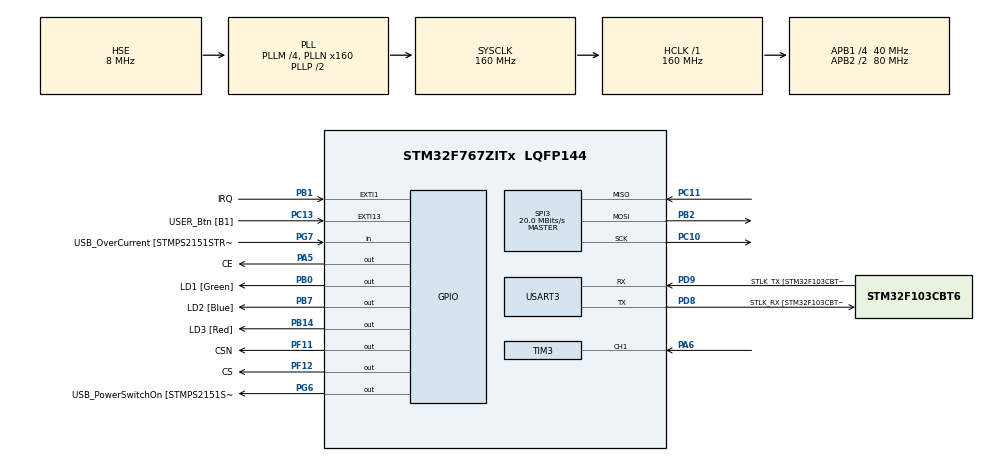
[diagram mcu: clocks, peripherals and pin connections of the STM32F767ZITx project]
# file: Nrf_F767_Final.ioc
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Mcu.Family=STM32F7
RCC.CortexFreq_Value=160000000
SPI3.Direction=SPI_DIRECTION_2LINES
SPI3.VirtualType=VM_MASTER
PG6.Signal=GPIO_Output
PC10.Signal=SPI3_SCK
PB14.GPIO_Label=LD3 [Red]
PG6.GPIO_Label=USB_PowerSwitchOn [STMPS2151STR_EN]
PA14.GPIO_Label=TCK
RCC.SYSCLKSourceVirtual=RCC_SYSCLKSOURCE_PLLCLK
PB0.GPIO_Label=LD1 [Green]
PC14/OSC32_IN.Mode=LSE-External-Oscillator
PC13.GPIO_Label=USER_Btn [B1]
PB13.GPIO_Label=RMII_TXD1 [LAN8742A-CZ-TR_TXD1]
PB13.Signal=ETH_TXD1
PG13.Signal=ETH_TXD0
PD9.Mode=Asynchronous
PG11.Signal=ETH_TX_EN
RCC.SYSCLKSource=RCC_SYSCLKSOURCE_PLLCLK
ProjectManager.StackSize=0x400
USART3.VirtualMode-Asynchronous=VM_ASYNC
NVIC.EXTI1_IRQn=true\:0\:0\:false\:false\:true\:true\:true
PA12.Signal=USB_OTG_FS_DP
PH0/OSC_IN.Mode=HSE-External-Clock-Source
RCC.HCLKFreq_Value=160000000
RCC.APB2TimFreq_Value=160000000
TIM3.Period=0xffff-1
PF11.GPIO_Label=CSN
PH1/OSC_OUT.Signal=RCC_OSC_OUT
PF12.Signal=GPIO_Output
PD8.Signal=USART3_TX
RCC.AHBFreq_Value=160000000
SPI3.DataSize=SPI_DATASIZE_8BIT
NVIC.EXTI15_10_IRQn=true\:0\:0\:false\:false\:true\:true\:true
RCC.HSE_VALUE=8000000
TIM3.Channel-Input_Capture1_from_TI1=TIM_CHANNEL_1
PB2.Signal=SPI3_MOSI
RCC.PLLMUL=RCC_PLL_MUL9
PF12.GPIO_Label=CS
PC4.GPIO_Label=RMII_RXD0 [LAN8742A-CZ-TR_RXD0]
TIM3.Prescaler=80-1
PB1.GPIO_Label=IRQ
PF11.Signal=GPIO_Output
NVIC.TIM2_IRQn=true\:0\:0\:false\:false\:true\:true\:true
PA10.GPIO_Label=USB_ID
PB7.Signal=GPIO_Output
PA8.Signal=USB_OTG_FS_SOF
SH.S_TIM3_CH1.0=TIM3_CH1,Input_Capture1_from_TI1
PH1/OSC_OUT.Mode=HSE-External-Clock-Source
PB7.GPIO_Label=LD2 [Blue]
Mcu.Package=LQFP144
PB1.Signal=GPXTI1
PA6.Signal=S_TIM3_CH1
SPI3.Mode=SPI_MODE_MASTER
PC14/OSC32_IN.Signal=RCC_OSC32_IN
PA2.GPIO_Label=RMII_MDIO [LAN8742A-CZ-TR_MDIO]
PA10.Signal=USB_OTG_FS_ID
PC11.Mode=Full_Duplex_Master
RCC.APB2CLKDivider=RCC_HCLK_DIV2
RCC.APB1TimFreq_Value=80000000
PG11.GPIO_Label=RMII_TX_EN [LAN8742A-CZ-TR_TXEN]
PC5.Signal=ETH_RXD1
VP_TIM3_VS_ClockSourceINT.Mode=Internal
PB3.GPIO_Label=SW0
RCC.PLLSourceVirtual=RCC_PLLSOURCE_HSE
CORTEX_M7.CPU_ICache=Enabled
PG7.Signal=GPIO_Input
PD9.GPIO_Label=STLK_TX [STM32F103CBT6_PA2]
PA9.GPIO_Label=USB_VBUS
PC13.Signal=GPXTI13
PC11.Signal=SPI3_MISO
PC4.Signal=ETH_RXD0
PC10.Mode=Full_Duplex_Master
PA11.GPIO_Label=USB_DM
PD9.Signal=USART3_RX
RCC.APB1CLKDivider=RCC_HCLK_DIV4
PG13.GPIO_Label=RMII_TXD0 [LAN8742A-CZ-TR_TXD0]
PA12.GPIO_Label=USB_DP
PD8.GPIO_Label=STLK_RX [STM32F103CBT6_PA3]
PA13.Signal=SYS_JTMS-SWDIO
PA8.GPIO_Label=USB_SOF [TP1]
ProjectManager.TargetToolchain=TrueSTUDIO
PA9.Signal=USB_OTG_FS_VBUS
RCC.USBFreq_Value=160000000
PD8.Mode=Asynchronous
PA1.Signal=ETH_REF_CLK
PB14.Signal=GPIO_Output
PA5.Signal=GPIO_Output
board=NUCLEO-F767ZI
RCC.VCOOutputFreq_Value=320000000
NVIC.TIM3_IRQn=true\:0\:0\:false\:false\:true\:true\:true
PH0/OSC_IN.Signal=RCC_OSC_IN
RCC.APB2Freq_Value=80000000
SPI3.CalculateBaudRate=20.0 MBits/s
RCC.PRESCALERUSB=RCC_USBCLKSOURCE_PLL_DIV1_5
VP_TIM2_VS_ClockSourceINT.Mode=Internal
PG7.GPIO_Label=USB_OverCurrent [STMPS2151STR_FAULT]
PA1.GPIO_Label=RMII_REF_CLK [LAN8742A-CZ-TR_REFCLK0]
PC1.GPIO_Label=RMII_MDC [LAN8742A-CZ-TR_MDC]
TIM3.ICPolarity_CH1=TIM_INPUTCHANNELPOLARITY_FALLING
Mcu.Name=STM32F767ZITx
PA2.Signal=ETH_MDIO
PA13.GPIO_Label=TMS
RCC.48MHZClocksFreq_Value=24000000
PB3.Signal=SYS_JTDO-SWO
RCC.SYSCLKFreq_VALUE=160000000
PA7.GPIO_Label=RMII_CRS_DV [LAN8742A-CZ-TR_CRS_DV]
PA5.GPIO_Label=CE
PC5.GPIO_Label=RMII_RXD1 [LAN8742A-CZ-TR_RXD1]
PB2.Mode=Full_Duplex_Master
PC15/OSC32_OUT.Mode=LSE-External-Oscillator
PA11.Signal=USB_OTG_FS_DM
PA14.Signal=SYS_JTCK-SWCLK
ProjectManager.HeapSize=0x200
RCC.HSI_VALUE=16000000
PH0/OSC_IN.GPIO_Label=MCO [STM32F103CBT6_PA8]
NVIC.PriorityGroup=NVIC_PRIORITYGROUP_4
RCC.PLLM=4
RCC.PLLN=160
PC15/OSC32_OUT.Signal=RCC_OSC32_OUT
CORTEX_M7.CPU_DCache=Enabled
RCC.APB1Freq_Value=40000000
PB0.Signal=GPIO_Output
PC1.Signal=ETH_MDC
PA7.Signal=ETH_CRS_DV

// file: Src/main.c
/* USER CODE BEGIN Header */
/**
  ******************************************************************************
  * @file           : main.c
  * @brief          : Main program body
  ******************************************************************************
  * @attention
  *
  * <h2><center>&copy; Copyright (c) 2020 STMicroelectronics.
  * All rights reserved.</center></h2>
  *
  * This software component is licensed by ST under BSD 3-Clause license,
  * the "License"; You may not use this file except in compliance with the
  * License. You may obtain a copy of the License at:
  *                        opensource.org/licenses/BSD-3-Clause
  *
  ******************************************************************************
  */
/* USER CODE END Header */

#include "main.h"

/* USER CODE BEGIN Includes */
#include "nrf24l01.h"
#include "string.h"
#include "stdio.h"
#include "stdint.h"
/* USER CODE END Includes */

/* USER CODE BEGIN PTD */
static void error() {
    while (true) {
        HAL_GPIO_TogglePin(LD2_GPIO_Port, LD2_Pin);
        HAL_Delay(100);
    }
}
/* USER CODE END PTD */

SPI_HandleTypeDef hspi3;

TIM_HandleTypeDef htim2;
TIM_HandleTypeDef htim3;

UART_HandleTypeDef huart3;

/* USER CODE BEGIN PV */
nrf24l01 nrf;
uint32_t rx_data;
nrf24l01_config config;
uint8_t buffer[1000];
static const uint8_t tx_address[5] = {1, 2, 3, 4, 5};
static const uint8_t rx_address[5] = {1, 2, 3, 4, 6};
void send_RF_messages (uint8_t *ffer);

uint32_t IC_Val1 = 0;
uint32_t IC_Val2 = 0;
uint32_t Difference = 0;
uint8_t Is_First_Captured = 0;  // is the first value captured ?
/* USER CODE END PV */

void SystemClock_Config(void);
static void MX_GPIO_Init(void);
static void MX_SPI3_Init(void);
static void MX_TIM2_Init(void);
static void MX_TIM3_Init(void);
static void MX_USART3_UART_Init(void);

int main(void)
{

  /* Enable I-Cache---------------------------------------------------------*/
  SCB_EnableICache();

  /* Enable D-Cache---------------------------------------------------------*/
  SCB_EnableDCache();

  /* MCU Configuration--------------------------------------------------------*/

  /* Reset of all peripherals, Initializes the Flash interface and the Systick. */
  HAL_Init();

  /* Configure the system clock */
  SystemClock_Config();

  /* Initialize all configured peripherals */
  MX_GPIO_Init();
  MX_SPI3_Init();
  MX_TIM2_Init();
  MX_TIM3_Init();
  MX_USART3_UART_Init();
  /* USER CODE BEGIN 2 */
  sprintf(buffer,"Hello Mohamed  \n\r");
  HAL_UART_Transmit(&huart3,buffer,strlen(buffer),1000);

  {
	   nrf24l01_config config;
	      config.data_rate        = NRF_DATA_RATE_1MBPS;
	      config.tx_power         = NRF_TX_PWR_0dBm;
	      config.crc_width        = NRF_CRC_WIDTH_1B;
	      config.addr_width       = NRF_ADDR_WIDTH_5;
	      config.payload_length   = 4;    // maximum is 32 bytes
	      config.retransmit_count = 15;   // maximum is 15 times
	      config.retransmit_delay = 0x0F; // 4000us, LSB:250us
	      config.rf_channel       = 11;
	      config.rx_address       = rx_address;
	      config.tx_address       = tx_address;
	      config.rx_buffer        = (uint8_t*)&rx_data;

	      config.spi         = &hspi3;
	      config.spi_timeout = 10; // milliseconds
	      config.ce_port     = CE_GPIO_Port;
	      config.ce_pin      = CE_Pin;
	      config.csn_pin     = CS_Pin;
	      config.csn_port    = CS_GPIO_Port;
	      config.irq_port    = IRQ_GPIO_Port;
	      config.irq_pin     = IRQ_Pin;

	      nrf_init(&nrf, &config);
      nrf_init(&nrf, &config);
  }

 uint8_t ffer[1000];

 uint16_t counter=0;
  /* USER CODE END 2 */

  /* Infinite loop */
  /* USER CODE BEGIN WHILE */
  while (1)
  {
      HAL_GPIO_TogglePin(LD1_GPIO_Port, LD1_Pin);
      HAL_Delay(500);
      sprintf(ffer,"ld1f");
  //    send_RF_messages(ffer);
   //   memset(ffer, 0, sizeof(ffer));
      HAL_GPIO_TogglePin(LD1_GPIO_Port, LD1_Pin);
      HAL_Delay(500);
      memset(ffer, 0, sizeof(ffer));
    //  sprintf(ffer,"ld1n");
   //   send_RF_messages(ffer);
      memset(ffer, 0, sizeof(ffer));

    /* USER CODE END WHILE */

  }
}

void SystemClock_Config(void)
{
  RCC_OscInitTypeDef RCC_OscInitStruct = {0};
  RCC_ClkInitTypeDef RCC_ClkInitStruct = {0};
  RCC_PeriphCLKInitTypeDef PeriphClkInitStruct = {0};

  /** Configure LSE Drive Capability
  */
  HAL_PWR_EnableBkUpAccess();
  /** Configure the main internal regulator output voltage
  */
  __HAL_RCC_PWR_CLK_ENABLE();
  __HAL_PWR_VOLTAGESCALING_CONFIG(PWR_REGULATOR_VOLTAGE_SCALE2);
  /** Initializes the CPU, AHB and APB busses clocks
  */
  RCC_OscInitStruct.OscillatorType = RCC_OSCILLATORTYPE_HSE;
  RCC_OscInitStruct.HSEState = RCC_HSE_BYPASS;
  RCC_OscInitStruct.PLL.PLLState = RCC_PLL_ON;
  RCC_OscInitStruct.PLL.PLLSource = RCC_PLLSOURCE_HSE;
  RCC_OscInitStruct.PLL.PLLM = 4;
  RCC_OscInitStruct.PLL.PLLN = 160;
  RCC_OscInitStruct.PLL.PLLP = RCC_PLLP_DIV2;
  RCC_OscInitStruct.PLL.PLLQ = 2;
  if (HAL_RCC_OscConfig(&RCC_OscInitStruct) != HAL_OK)
  {
    Error_Handler();
  }
  /** Initializes the CPU, AHB and APB busses clocks
  */
  RCC_ClkInitStruct.ClockType = RCC_CLOCKTYPE_HCLK|RCC_CLOCKTYPE_SYSCLK
                              |RCC_CLOCKTYPE_PCLK1|RCC_CLOCKTYPE_PCLK2;
  RCC_ClkInitStruct.SYSCLKSource = RCC_SYSCLKSOURCE_PLLCLK;
  RCC_ClkInitStruct.AHBCLKDivider = RCC_SYSCLK_DIV1;
  RCC_ClkInitStruct.APB1CLKDivider = RCC_HCLK_DIV4;
  RCC_ClkInitStruct.APB2CLKDivider = RCC_HCLK_DIV2;

  if (HAL_RCC_ClockConfig(&RCC_ClkInitStruct, FLASH_LATENCY_5) != HAL_OK)
  {
    Error_Handler();
  }
  PeriphClkInitStruct.PeriphClockSelection = RCC_PERIPHCLK_USART3;
  PeriphClkInitStruct.Usart3ClockSelection = RCC_USART3CLKSOURCE_PCLK1;
  if (HAL_RCCEx_PeriphCLKConfig(&PeriphClkInitStruct) != HAL_OK)
  {
    Error_Handler();
  }
}

static void MX_SPI3_Init(void)
{

  /* SPI3 parameter configuration*/
  hspi3.Instance = SPI3;
  hspi3.Init.Mode = SPI_MODE_MASTER;
  hspi3.Init.Direction = SPI_DIRECTION_2LINES;
  hspi3.Init.DataSize = SPI_DATASIZE_8BIT;
  hspi3.Init.CLKPolarity = SPI_POLARITY_LOW;
  hspi3.Init.CLKPhase = SPI_PHASE_1EDGE;
  hspi3.Init.NSS = SPI_NSS_SOFT;
  hspi3.Init.BaudRatePrescaler = SPI_BAUDRATEPRESCALER_16;
  hspi3.Init.FirstBit = SPI_FIRSTBIT_MSB;
  hspi3.Init.TIMode = SPI_TIMODE_DISABLE;
  hspi3.Init.CRCCalculation = SPI_CRCCALCULATION_DISABLE;
  hspi3.Init.CRCPolynomial = 7;
  hspi3.Init.CRCLength = SPI_CRC_LENGTH_DATASIZE;
  hspi3.Init.NSSPMode = SPI_NSS_PULSE_ENABLE;
  if (HAL_SPI_Init(&hspi3) != HAL_OK)
  {
    Error_Handler();
  }

}

static void MX_TIM2_Init(void)
{

  TIM_ClockConfigTypeDef sClockSourceConfig = {0};
  TIM_MasterConfigTypeDef sMasterConfig = {0};

  htim2.Instance = TIM2;
  htim2.Init.Prescaler = 0;
  htim2.Init.CounterMode = TIM_COUNTERMODE_UP;
  htim2.Init.Period = 0;
  htim2.Init.ClockDivision = TIM_CLOCKDIVISION_DIV1;
  htim2.Init.AutoReloadPreload = TIM_AUTORELOAD_PRELOAD_DISABLE;
  if (HAL_TIM_Base_Init(&htim2) != HAL_OK)
  {
    Error_Handler();
  }
  sClockSourceConfig.ClockSource = TIM_CLOCKSOURCE_INTERNAL;
  if (HAL_TIM_ConfigClockSource(&htim2, &sClockSourceConfig) != HAL_OK)
  {
    Error_Handler();
  }
  sMasterConfig.MasterOutputTrigger = TIM_TRGO_RESET;
  sMasterConfig.MasterSlaveMode = TIM_MASTERSLAVEMODE_DISABLE;
  if (HAL_TIMEx_MasterConfigSynchronization(&htim2, &sMasterConfig) != HAL_OK)
  {
    Error_Handler();
  }

}

static void MX_TIM3_Init(void)
{

  TIM_ClockConfigTypeDef sClockSourceConfig = {0};
  TIM_MasterConfigTypeDef sMasterConfig = {0};
  TIM_IC_InitTypeDef sConfigIC = {0};

  htim3.Instance = TIM3;
  htim3.Init.Prescaler = 80-1;
  htim3.Init.CounterMode = TIM_COUNTERMODE_UP;
  htim3.Init.Period = 0xffff-1;
  htim3.Init.ClockDivision = TIM_CLOCKDIVISION_DIV1;
  htim3.Init.AutoReloadPreload = TIM_AUTORELOAD_PRELOAD_DISABLE;
  if (HAL_TIM_Base_Init(&htim3) != HAL_OK)
  {
    Error_Handler();
  }
  sClockSourceConfig.ClockSource = TIM_CLOCKSOURCE_INTERNAL;
  if (HAL_TIM_ConfigClockSource(&htim3, &sClockSourceConfig) != HAL_OK)
  {
    Error_Handler();
  }
  if (HAL_TIM_IC_Init(&htim3) != HAL_OK)
  {
    Error_Handler();
  }
  sMasterConfig.MasterOutputTrigger = TIM_TRGO_RESET;
  sMasterConfig.MasterSlaveMode = TIM_MASTERSLAVEMODE_DISABLE;
  if (HAL_TIMEx_MasterConfigSynchronization(&htim3, &sMasterConfig) != HAL_OK)
  {
    Error_Handler();
  }
  sConfigIC.ICPolarity = TIM_INPUTCHANNELPOLARITY_FALLING;
  sConfigIC.ICSelection = TIM_ICSELECTION_DIRECTTI;
  sConfigIC.ICPrescaler = TIM_ICPSC_DIV1;
  sConfigIC.ICFilter = 0;
  if (HAL_TIM_IC_ConfigChannel(&htim3, &sConfigIC, TIM_CHANNEL_1) != HAL_OK)
  {
    Error_Handler();
  }

}

static void MX_USART3_UART_Init(void)
{

  huart3.Instance = USART3;
  huart3.Init.BaudRate = 115200;
  huart3.Init.WordLength = UART_WORDLENGTH_8B;
  huart3.Init.StopBits = UART_STOPBITS_1;
  huart3.Init.Parity = UART_PARITY_NONE;
  huart3.Init.Mode = UART_MODE_TX_RX;
  huart3.Init.HwFlowCtl = UART_HWCONTROL_NONE;
  huart3.Init.OverSampling = UART_OVERSAMPLING_16;
  huart3.Init.OneBitSampling = UART_ONE_BIT_SAMPLE_DISABLE;
  huart3.AdvancedInit.AdvFeatureInit = UART_ADVFEATURE_NO_INIT;
  if (HAL_UART_Init(&huart3) != HAL_OK)
  {
    Error_Handler();
  }

}

static void MX_GPIO_Init(void)
{
  GPIO_InitTypeDef GPIO_InitStruct = {0};

  /* GPIO Ports Clock Enable */
  __HAL_RCC_GPIOC_CLK_ENABLE();
  __HAL_RCC_GPIOH_CLK_ENABLE();
  __HAL_RCC_GPIOA_CLK_ENABLE();
  __HAL_RCC_GPIOB_CLK_ENABLE();
  __HAL_RCC_GPIOF_CLK_ENABLE();
  __HAL_RCC_GPIOD_CLK_ENABLE();
  __HAL_RCC_GPIOG_CLK_ENABLE();

  /*Configure GPIO pin Output Level */
  HAL_GPIO_WritePin(CE_GPIO_Port, CE_Pin, GPIO_PIN_RESET);

  /*Configure GPIO pin Output Level */
  HAL_GPIO_WritePin(GPIOB, LD1_Pin|LD3_Pin|LD2_Pin, GPIO_PIN_RESET);

  /*Configure GPIO pin Output Level */
  HAL_GPIO_WritePin(GPIOF, CSN_Pin|CS_Pin, GPIO_PIN_RESET);

  /*Configure GPIO pin Output Level */
  HAL_GPIO_WritePin(USB_PowerSwitchOn_GPIO_Port, USB_PowerSwitchOn_Pin, GPIO_PIN_RESET);

  /*Configure GPIO pin : USER_Btn_Pin */
  GPIO_InitStruct.Pin = USER_Btn_Pin;
  GPIO_InitStruct.Mode = GPIO_MODE_IT_RISING;
  GPIO_InitStruct.Pull = GPIO_NOPULL;
  HAL_GPIO_Init(USER_Btn_GPIO_Port, &GPIO_InitStruct);

  /*Configure GPIO pins : RMII_MDC_Pin RMII_RXD0_Pin RMII_RXD1_Pin */
  GPIO_InitStruct.Pin = RMII_MDC_Pin|RMII_RXD0_Pin|RMII_RXD1_Pin;
  GPIO_InitStruct.Mode = GPIO_MODE_AF_PP;
  GPIO_InitStruct.Pull = GPIO_NOPULL;
  GPIO_InitStruct.Speed = GPIO_SPEED_FREQ_VERY_HIGH;
  GPIO_InitStruct.Alternate = GPIO_AF11_ETH;
  HAL_GPIO_Init(GPIOC, &GPIO_InitStruct);

  /*Configure GPIO pins : RMII_REF_CLK_Pin RMII_MDIO_Pin RMII_CRS_DV_Pin */
  GPIO_InitStruct.Pin = RMII_REF_CLK_Pin|RMII_MDIO_Pin|RMII_CRS_DV_Pin;
  GPIO_InitStruct.Mode = GPIO_MODE_AF_PP;
  GPIO_InitStruct.Pull = GPIO_NOPULL;
  GPIO_InitStruct.Speed = GPIO_SPEED_FREQ_VERY_HIGH;
  GPIO_InitStruct.Alternate = GPIO_AF11_ETH;
  HAL_GPIO_Init(GPIOA, &GPIO_InitStruct);

  /*Configure GPIO pin : CE_Pin */
  GPIO_InitStruct.Pin = CE_Pin;
  GPIO_InitStruct.Mode = GPIO_MODE_OUTPUT_PP;
  GPIO_InitStruct.Pull = GPIO_NOPULL;
  GPIO_InitStruct.Speed = GPIO_SPEED_FREQ_LOW;
  HAL_GPIO_Init(CE_GPIO_Port, &GPIO_InitStruct);

  /*Configure GPIO pins : LD1_Pin LD3_Pin LD2_Pin */
  GPIO_InitStruct.Pin = LD1_Pin|LD3_Pin|LD2_Pin;
  GPIO_InitStruct.Mode = GPIO_MODE_OUTPUT_PP;
  GPIO_InitStruct.Pull = GPIO_NOPULL;
  GPIO_InitStruct.Speed = GPIO_SPEED_FREQ_LOW;
  HAL_GPIO_Init(GPIOB, &GPIO_InitStruct);

  /*Configure GPIO pin : IRQ_Pin */
  GPIO_InitStruct.Pin = IRQ_Pin;
  GPIO_InitStruct.Mode = GPIO_MODE_IT_FALLING;
  GPIO_InitStruct.Pull = GPIO_NOPULL;
  HAL_GPIO_Init(IRQ_GPIO_Port, &GPIO_InitStruct);

  /*Configure GPIO pins : CSN_Pin CS_Pin */
  GPIO_InitStruct.Pin = CSN_Pin|CS_Pin;
  GPIO_InitStruct.Mode = GPIO_MODE_OUTPUT_PP;
  GPIO_InitStruct.Pull = GPIO_NOPULL;
  GPIO_InitStruct.Speed = GPIO_SPEED_FREQ_LOW;
  HAL_GPIO_Init(GPIOF, &GPIO_InitStruct);

  /*Configure GPIO pin : RMII_TXD1_Pin */
  GPIO_InitStruct.Pin = RMII_TXD1_Pin;
  GPIO_InitStruct.Mode = GPIO_MODE_AF_PP;
  GPIO_InitStruct.Pull = GPIO_NOPULL;
  GPIO_InitStruct.Speed = GPIO_SPEED_FREQ_VERY_HIGH;
  GPIO_InitStruct.Alternate = GPIO_AF11_ETH;
  HAL_GPIO_Init(RMII_TXD1_GPIO_Port, &GPIO_InitStruct);

  /*Configure GPIO pin : USB_PowerSwitchOn_Pin */
  GPIO_InitStruct.Pin = USB_PowerSwitchOn_Pin;
  GPIO_InitStruct.Mode = GPIO_MODE_OUTPUT_PP;
  GPIO_InitStruct.Pull = GPIO_NOPULL;
  GPIO_InitStruct.Speed = GPIO_SPEED_FREQ_LOW;
  HAL_GPIO_Init(USB_PowerSwitchOn_GPIO_Port, &GPIO_InitStruct);

  /*Configure GPIO pin : USB_OverCurrent_Pin */
  GPIO_InitStruct.Pin = USB_OverCurrent_Pin;
  GPIO_InitStruct.Mode = GPIO_MODE_INPUT;
  GPIO_InitStruct.Pull = GPIO_NOPULL;
  HAL_GPIO_Init(USB_OverCurrent_GPIO_Port, &GPIO_InitStruct);

  /*Configure GPIO pins : USB_SOF_Pin USB_ID_Pin USB_DM_Pin USB_DP_Pin */
  GPIO_InitStruct.Pin = USB_SOF_Pin|USB_ID_Pin|USB_DM_Pin|USB_DP_Pin;
  GPIO_InitStruct.Mode = GPIO_MODE_AF_PP;
  GPIO_InitStruct.Pull = GPIO_NOPULL;
  GPIO_InitStruct.Speed = GPIO_SPEED_FREQ_VERY_HIGH;
  GPIO_InitStruct.Alternate = GPIO_AF10_OTG_FS;
  HAL_GPIO_Init(GPIOA, &GPIO_InitStruct);

  /*Configure GPIO pin : USB_VBUS_Pin */
  GPIO_InitStruct.Pin = USB_VBUS_Pin;
  GPIO_InitStruct.Mode = GPIO_MODE_INPUT;
  GPIO_InitStruct.Pull = GPIO_NOPULL;
  HAL_GPIO_Init(USB_VBUS_GPIO_Port, &GPIO_InitStruct);

  /*Configure GPIO pins : RMII_TX_EN_Pin RMII_TXD0_Pin */
  GPIO_InitStruct.Pin = RMII_TX_EN_Pin|RMII_TXD0_Pin;
  GPIO_InitStruct.Mode = GPIO_MODE_AF_PP;
  GPIO_InitStruct.Pull = GPIO_NOPULL;
  GPIO_InitStruct.Speed = GPIO_SPEED_FREQ_VERY_HIGH;
  GPIO_InitStruct.Alternate = GPIO_AF11_ETH;
  HAL_GPIO_Init(GPIOG, &GPIO_InitStruct);

  /* EXTI interrupt init*/
  HAL_NVIC_SetPriority(EXTI1_IRQn, 0, 0);
  HAL_NVIC_EnableIRQ(EXTI1_IRQn);

  HAL_NVIC_SetPriority(EXTI15_10_IRQn, 0, 0);
  HAL_NVIC_EnableIRQ(EXTI15_10_IRQn);

}

/* USER CODE BEGIN 4 */
void HAL_GPIO_EXTI_Callback(uint16_t GPIO_Pin)
{
	if(GPIO_Pin==IRQ_Pin){
    nrf_irq_handler(&nrf);

	}

	if(GPIO_Pin==USER_Btn_Pin){
	    nrf_irq_handler(&nrf);
	    sprintf(buffer,"it trigger USER_Btn_Pin \n\r");
	    HAL_UART_Transmit(&huart3,buffer,strlen(buffer),1000);
		}
}
void send_RF_messages (uint8_t *ffer){
	  uint16_t i=0;
	  i=sizeof(ffer);
	 uint16_t u=0;
	 while (i){
		  int t=4,g=0;
		  while (t){
			  t--;
			  if(*ffer!= 0){
			  buffer[g]=*ffer;
			  g++;
			  *ffer ++;
			  }
			  else{
				  i=0;
			      break;
			  }
		  }
		  nrf_send_packet(&nrf, buffer);
	 }
}
/* USER CODE END 4 */

void Error_Handler(void)
{
}

/************************ (C) COPYRIGHT STMicroelectronics *****END OF FILE****/
